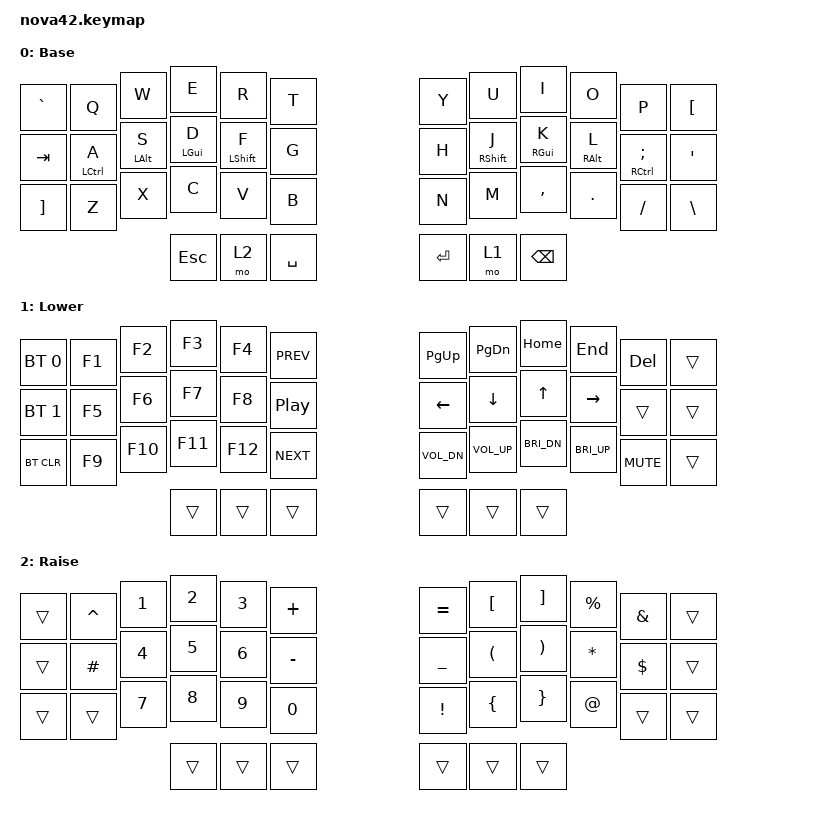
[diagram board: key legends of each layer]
/*
 * Copyright (c) 2026 The ZMK Contributors
 *
 * SPDX-License-Identifier: MIT
 */

#include <behaviors.dtsi>
#include <dt-bindings/zmk/keys.h>
#include <dt-bindings/zmk/bt.h>

/ {
    behaviors {
        // Left HRM — triggered only by right-hand keys + right thumb
        hrml: hrm_left {
            compatible = "zmk,behavior-hold-tap";
            #binding-cells = <2>;
            flavor = "tap-preferred";
            tapping-term-ms = <150>;
            quick-tap-ms = <175>;
            require-prior-idle-ms = <150>;
            bindings = <&kp>, <&kp>;
            hold-trigger-key-positions = <
                6  7  8  9  10 11
                18 19 20 21 22 23
                30 31 32 33 34 35
                39 40 41
            >;
        };

        // Right HRM — triggered only by left-hand keys + left thumb
        hrmr: hrm_right {
            compatible = "zmk,behavior-hold-tap";
            #binding-cells = <2>;
            flavor = "tap-preferred";
            tapping-term-ms = <150>;
            quick-tap-ms = <175>;
            require-prior-idle-ms = <150>;
            bindings = <&kp>, <&kp>;
            hold-trigger-key-positions = <
                0  1  2  3  4  5
                12 13 14 15 16 17
                24 25 26 27 28 29
                36 37 38
            >;
        };
    };

    keymap {
        compatible = "zmk,keymap";

        // =========================
        // Base Layer
        // =========================
        default_layer {
            display-name = "Base";
            bindings = <
                // Row 1 (Top letters)
                // | ` | Q | W | E | R | T |   | Y | U | I | O | P | [ |
                &kp GRAVE   &kp Q        &kp W        &kp E        &kp R         &kp T      &kp Y  &kp U         &kp I        &kp O        &kp P           &kp LBKT

                // Row 2 (Home row) — hold for modifier, tap for letter
                // | TAB | A/LCTRL | S/LALT | D/LGUI | F/LSHFT | G |   | H | J/RSHFT | K/RGUI | L/RALT | ;/RCTRL | ' |
                &kp TAB &hrml LCTRL A &hrml LALT S &hrml LGUI D &hrml LSHFT F &kp G      &kp H  &hrmr RSHFT J &hrmr RGUI K &hrmr RALT L &hrmr RCTRL SEMI &kp SQT

                // Row 3 (Bottom letters)
                // | ] | Z | X | C | V | B |   | N | M | , | . | / | \ |
                &kp RBKT   &kp Z        &kp X        &kp C        &kp V         &kp B      &kp N  &kp M         &kp COMMA    &kp DOT      &kp FSLH        &kp BSLH 

                // Thumb cluster
                // | ESC | MO(Raise) | SPACE |   | ENTER | MO(Lower) | BACKSPACE |
                &kp ESC  &mo 2  &kp SPACE    &kp RET  &mo 1  &kp BSPC
            >;
        };

        // =========================
        // Lower Layer (1) — Navigation + F-keys + System
        // =========================
        lower_layer {
            display-name = "Lower";
            bindings = <
                // Row 1: BT0  F1-F4  PREV  |  PGUP PGDN HOME END DEL ·
                &bt BT_SEL 0  &kp F1  &kp F2   &kp F3   &kp F4   &kp C_PREV    &kp PG_UP    &kp PG_DN    &kp HOME     &kp END      &kp DEL    &trans
                // Row 2: BT1  F5-F8  PP    |  LEFT DOWN UP  RIGHT · ·
                &bt BT_SEL 1  &kp F5  &kp F6   &kp F7   &kp F8   &kp C_PP      &kp LEFT     &kp DOWN     &kp UP       &kp RIGHT    &trans     &trans
                // Row 3: BTCLR F9-F12 NEXT |  VOL- VOL+ BRI- BRI+ MUTE ·
                &bt BT_CLR    &kp F9  &kp F10  &kp F11  &kp F12  &kp C_NEXT    &kp C_VOL_DN &kp C_VOL_UP &kp C_BRI_DN &kp C_BRI_UP &kp C_MUTE &trans
                // Thumb cluster
                &trans  &trans  &trans    &trans  &trans  &trans
            >;
        };

        // =========================
        // Raise Layer (2) — Numbers + Symbols
        // =========================
        raise_layer {
            display-name = "Raise";
            bindings = <
                // Row 1: · ^ 1 2 3 + = [ ] % & ·
                &trans  &kp CARET  &kp N1  &kp N2  &kp N3  &kp PLUS   &kp EQUAL  &kp LBKT  &kp RBKT  &kp PRCNT  &kp AMPS  &trans
                // Row 2: · # 4 5 6 - _ ( ) * $ ·
                &trans  &kp HASH   &kp N4  &kp N5  &kp N6  &kp MINUS  &kp UNDER  &kp LPAR  &kp RPAR  &kp ASTRK  &kp DLLR  &trans
                // Row 3: · · 7 8 9 0 ! { } @ · ·
                &trans  &trans     &kp N7  &kp N8  &kp N9  &kp N0     &kp EXCL   &kp LBRC  &kp RBRC  &kp AT     &trans    &trans
                // Thumb cluster
                &trans  &trans  &trans    &trans  &trans  &trans
            >;
        };
    };
};
